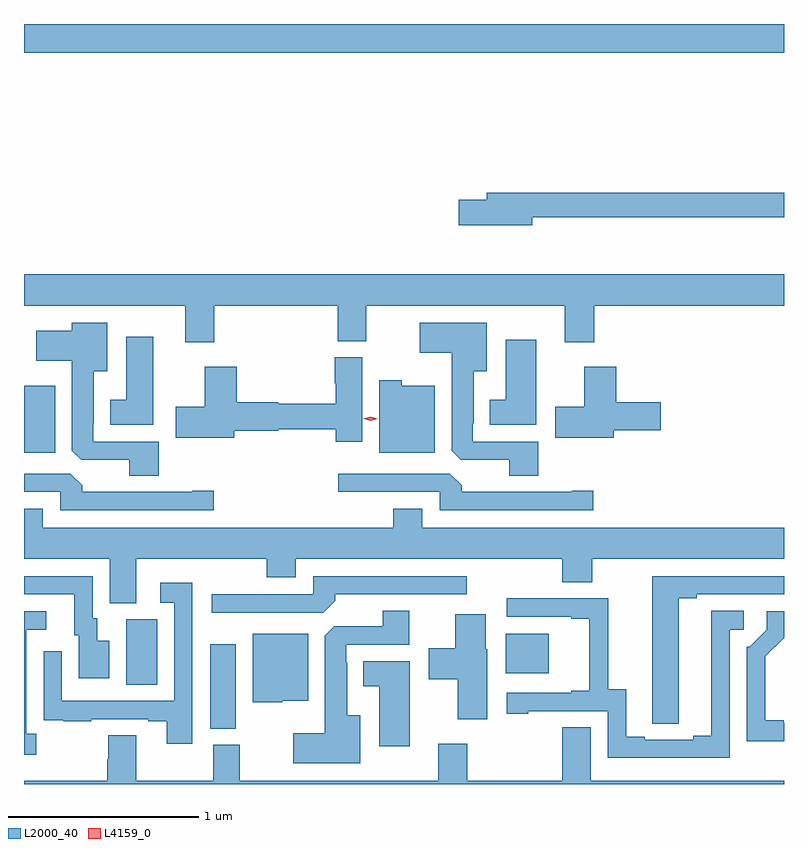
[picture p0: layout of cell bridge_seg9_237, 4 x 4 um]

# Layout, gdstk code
import gdstk
lib = gdstk.Library(unit=1e-6, precision=1e-09)
def R(c, l, rs):  # rectangles x0, y0, x1, y1
    for r in rs: c.add(gdstk.rectangle(r[:2], r[2:], *l))
def P(c, l, *ps):  # polygons
    for p in ps: c.add(gdstk.Polygon(p, *l))
L2000_40 = (2000, 40)
L4159_0 = (4159, 0)

bridge_seg9_237 = lib.new_cell('bridge_seg9_237')
R(bridge_seg9_237, L2000_40, [(263.264,1210.177,263.398,1210.621), (262.82,1210.408,262.984,1210.752), (264.818,1210.469,265.045,1210.678), (262.283,1211.63,262.447,1211.983), (262.283,1213.736,266.283,1213.886)])
P(bridge_seg9_237, L2000_40, [(264.958,1212.87),(266.283,1212.87),(266.283,1212.998),(264.719,1212.998),(264.719,1212.962),(264.57,1212.962),(264.57,1212.827),(264.958,1212.827)],
  [(263.285,1212.404),(263.933,1212.404),(263.933,1212.217),(264.085,1212.217),(264.085,1212.404),(265.13,1212.404),(265.13,1212.21),(265.283,1212.21),(265.283,1212.404),(266.283,1212.404),(266.283,1212.568),(262.283,1212.568),(262.283,1212.404),(263.132,1212.404),(263.132,1212.21),(263.285,1212.21)],
  [(262.991,1211.688),(262.647,1211.688),(262.647,1211.785),(262.651,1211.785),(262.651,1212.059),(262.72,1212.059),(262.72,1212.313),(262.535,1212.313),(262.535,1212.271),(262.347,1212.271),(262.347,1212.113),(262.535,1212.113),(262.535,1211.641),(262.584,1211.592),(262.838,1211.592),(262.838,1211.509),(262.991,1211.509)],
  [(264.989,1211.688),(264.645,1211.688),(264.645,1211.785),(264.649,1211.785),(264.649,1212.059),(264.718,1212.059),(264.718,1212.313),(264.366,1212.313),(264.366,1212.155),(264.533,1212.155),(264.533,1211.641),(264.582,1211.592),(264.836,1211.592),(264.836,1211.509),(264.989,1211.509)],
  [(262.963,1212.241),(262.82,1212.241),(262.82,1211.908),(262.736,1211.908),(262.736,1211.777),(262.963,1211.777)],
  [(264.979,1212.223),(264.818,1212.223),(264.818,1211.908),(264.734,1211.908),(264.734,1211.777),(264.979,1211.777)],
  [(264.064,1212.132),(263.918,1212.132),(263.918,1211.996),(263.923,1211.996),(263.923,1211.888),(263.622,1211.888),(263.622,1211.896),(263.402,1211.896),(263.402,1212.082),(263.234,1212.082),(263.234,1211.871),(263.082,1211.871),(263.082,1211.708),(263.389,1211.708),(263.389,1211.744),(263.622,1211.744),(263.622,1211.752),(263.923,1211.752),(263.923,1211.688),(264.064,1211.688)],
  [(265.387,1211.747),(265.633,1211.747),(265.633,1211.894),(265.4,1211.894),(265.4,1212.082),(265.232,1212.082),(265.232,1211.871),(265.08,1211.871),(265.08,1211.708),(265.387,1211.708)],
  [(264.445,1211.983),(264.27,1211.983),(264.27,1212.01),(264.152,1212.01),(264.152,1211.63),(264.445,1211.63)],
  [(265.279,1211.429),(265.166,1211.429),(265.166,1211.424),(264.587,1211.424),(264.587,1211.458),(264.525,1211.52),(263.937,1211.52),(263.937,1211.424),(264.471,1211.424),(264.471,1211.328),(265.279,1211.328)],
  [(263.281,1211.429),(263.168,1211.429),(263.168,1211.424),(262.589,1211.424),(262.589,1211.458),(262.527,1211.52),(262.283,1211.52),(262.283,1211.424),(262.473,1211.424),(262.473,1211.328),(263.281,1211.328)],
  [(262.873,1211.072),(263.561,1211.072),(263.561,1210.973),(263.713,1210.973),(263.713,1211.072),(265.115,1211.072),(265.115,1210.948),(265.275,1210.948),(265.275,1211.072),(266.283,1211.072),(266.283,1211.236),(264.379,1211.236),(264.379,1211.335),(264.227,1211.335),(264.227,1211.236),(262.381,1211.236),(262.381,1211.335),(262.283,1211.335),(262.283,1211.072),(262.733,1211.072),(262.733,1210.837),(262.873,1210.837)],
  [(263.921,1210.85),(263.921,1210.884),(264.613,1210.884),(264.613,1210.98),(263.805,1210.98),(263.805,1210.884),(263.271,1210.884),(263.271,1210.788),(263.859,1210.788)],
  [(262.732,1210.639),(262.669,1210.639),(262.669,1210.758),(262.644,1210.758),(262.644,1210.98),(262.283,1210.98),(262.283,1210.884),(262.547,1210.884),(262.547,1210.668),(262.571,1210.668),(262.571,1210.443),(262.732,1210.443)],
  [(265.729,1210.864),(265.825,1210.864),(265.825,1210.884),(266.283,1210.884),(266.283,1210.98),(265.589,1210.98),(265.589,1210.312),(265.59,1210.312),(265.59,1210.204),(265.729,1210.204)],
  [(263.169,1210.945),(263.001,1210.945),(263.001,1210.839),(263.073,1210.839),(263.073,1210.323),(262.482,1210.323),(262.482,1210.585),(262.386,1210.585),(262.386,1210.33),(262.387,1210.33),(262.387,1210.221),(262.489,1210.221),(262.489,1210.215),(262.637,1210.215),(262.637,1210.227),(262.937,1210.227),(262.937,1210.215),(263.033,1210.215),(263.033,1210.098),(263.169,1210.098)],
  [(265.998,1210.698),(266.071,1210.698),(266.071,1210.799),(265.901,1210.799),(265.901,1210.139),(265.805,1210.139),(265.805,1210.119),(265.549,1210.119),(265.549,1210.134),(265.453,1210.134),(265.453,1210.385),(265.359,1210.385),(265.359,1210.863),(264.825,1210.863),(264.825,1210.767),(265.163,1210.767),(265.163,1210.755),(265.259,1210.755),(265.259,1210.378),(265.163,1210.378),(265.163,1210.365),(264.825,1210.365),(264.825,1210.257),(264.937,1210.257),(264.937,1210.269),(265.356,1210.269),(265.356,1210.023),(265.998,1210.023)],
  [(264.052,1210.249),(263.983,1210.249),(263.983,1210.523),(263.979,1210.523),(263.979,1210.62),(264.31,1210.62),(264.31,1210.799),(264.17,1210.799),(264.17,1210.716),(263.916,1210.716),(263.867,1210.667),(263.867,1210.153),(263.7,1210.153),(263.7,1209.995),(264.052,1209.995)],
  [(262.348,1210.15),(262.296,1210.15),(262.296,1210.698),(262.399,1210.698),(262.399,1210.794),(262.283,1210.794),(262.283,1210.04),(262.348,1210.04)],
  [(266.283,1210.209),(266.281,1210.209),(266.281,1210.222),(266.185,1210.222),(266.185,1210.558),(266.283,1210.656),(266.283,1210.794),(266.193,1210.794),(266.193,1210.698),(266.103,1210.608),(266.088,1210.608),(266.088,1210.112),(266.283,1210.112)],
  [(264.721,1210.596),(264.712,1210.596),(264.712,1210.78),(264.554,1210.78),(264.554,1210.6),(264.414,1210.6),(264.414,1210.438),(264.566,1210.438),(264.566,1210.227),(264.721,1210.227)],
  [(263.643,1210.325),(263.779,1210.325),(263.779,1210.678),(263.486,1210.678),(263.486,1210.316),(263.643,1210.316)],
  [(264.313,1210.531),(264.068,1210.531),(264.068,1210.4),(264.152,1210.4),(264.152,1210.086),(264.313,1210.086)],
  [(266.283,1209.904),(265.267,1209.904),(265.267,1210.184),(265.115,1210.184),(265.115,1209.904),(264.617,1209.904),(264.617,1210.099),(264.464,1210.099),(264.464,1209.904),(263.419,1209.904),(263.419,1210.092),(263.279,1210.092),(263.279,1209.904),(262.873,1209.904),(262.873,1210.142),(262.726,1210.142),(262.726,1210.017),(262.721,1210.017),(262.721,1209.904),(262.283,1209.904),(262.283,1209.886),(266.283,1209.886)])
P(bridge_seg9_237, L4159_0, [(264.107,1211.799),(264.069,1211.808),(264.069,1211.808),(264.069,1211.808),(264.107,1211.818),(264.145,1211.809),(264.145,1211.809),(264.145,1211.809)])

lib.write_gds('bridge_seg9_237.gds')
